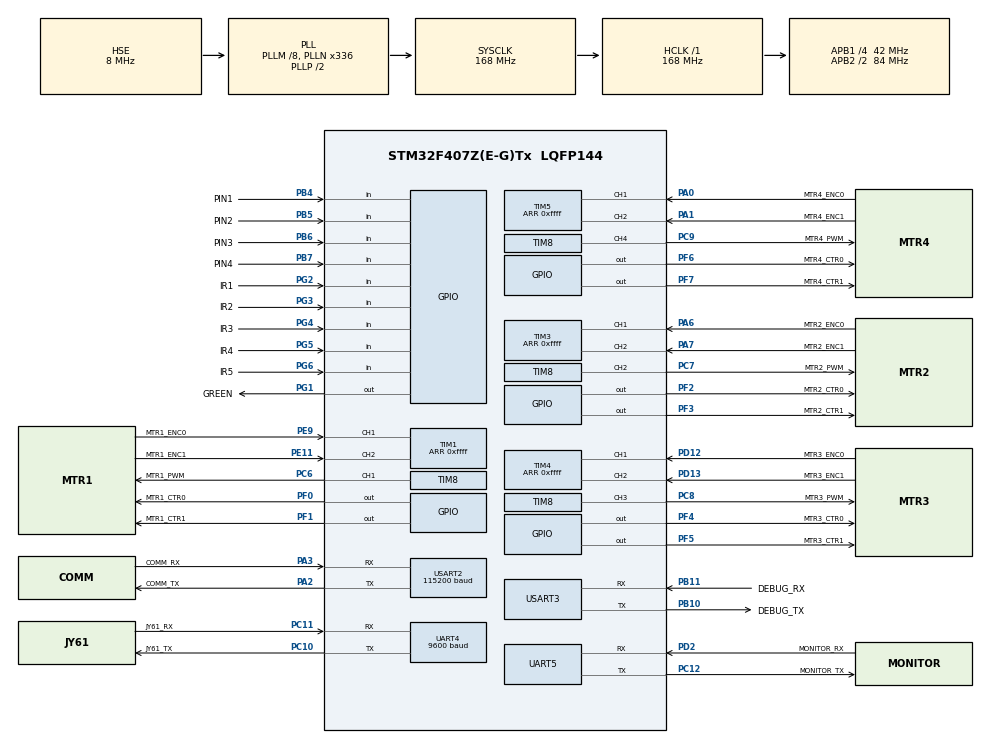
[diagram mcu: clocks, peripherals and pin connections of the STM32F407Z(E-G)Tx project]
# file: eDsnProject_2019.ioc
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Dma.Request0=USART2_RX
Dma.Request1=USART2_TX
Dma.Request2=USART3_RX
Dma.Request3=USART3_TX
Dma.Request4=UART5_RX
Dma.Request5=UART4_RX
Dma.UART4_RX.5.Direction=DMA_PERIPH_TO_MEMORY
Dma.UART4_RX.5.FIFOMode=DMA_FIFOMODE_DISABLE
Dma.UART4_RX.5.Instance=DMA1_Stream2
Dma.UART4_RX.5.MemDataAlignment=DMA_MDATAALIGN_BYTE
Dma.UART4_RX.5.MemInc=DMA_MINC_ENABLE
Dma.UART4_RX.5.Mode=DMA_NORMAL
Dma.UART4_RX.5.PeriphDataAlignment=DMA_PDATAALIGN_BYTE
Dma.UART4_RX.5.PeriphInc=DMA_PINC_DISABLE
Dma.UART4_RX.5.Priority=DMA_PRIORITY_VERY_HIGH
Dma.UART5_RX.4.Direction=DMA_PERIPH_TO_MEMORY
Dma.UART5_RX.4.FIFOMode=DMA_FIFOMODE_DISABLE
Dma.UART5_RX.4.Instance=DMA1_Stream0
Dma.UART5_RX.4.MemDataAlignment=DMA_MDATAALIGN_BYTE
Dma.UART5_RX.4.MemInc=DMA_MINC_ENABLE
Dma.UART5_RX.4.Mode=DMA_NORMAL
Dma.UART5_RX.4.PeriphDataAlignment=DMA_PDATAALIGN_BYTE
Dma.UART5_RX.4.PeriphInc=DMA_PINC_DISABLE
Dma.UART5_RX.4.Priority=DMA_PRIORITY_HIGH
Dma.USART2_RX.0.Direction=DMA_PERIPH_TO_MEMORY
Dma.USART2_RX.0.FIFOMode=DMA_FIFOMODE_DISABLE
Dma.USART2_RX.0.Instance=DMA1_Stream5
Dma.USART2_RX.0.MemDataAlignment=DMA_MDATAALIGN_BYTE
Dma.USART2_RX.0.MemInc=DMA_MINC_ENABLE
Dma.USART2_RX.0.Mode=DMA_NORMAL
Dma.USART2_RX.0.PeriphDataAlignment=DMA_PDATAALIGN_BYTE
Dma.USART2_RX.0.PeriphInc=DMA_PINC_DISABLE
Dma.USART2_RX.0.Priority=DMA_PRIORITY_MEDIUM
Dma.USART2_TX.1.Direction=DMA_MEMORY_TO_PERIPH
Dma.USART2_TX.1.FIFOMode=DMA_FIFOMODE_DISABLE
Dma.USART2_TX.1.Instance=DMA1_Stream6
Dma.USART2_TX.1.MemDataAlignment=DMA_MDATAALIGN_BYTE
Dma.USART2_TX.1.MemInc=DMA_MINC_ENABLE
Dma.USART2_TX.1.Mode=DMA_NORMAL
Dma.USART2_TX.1.PeriphDataAlignment=DMA_PDATAALIGN_BYTE
Dma.USART2_TX.1.PeriphInc=DMA_PINC_DISABLE
Dma.USART2_TX.1.Priority=DMA_PRIORITY_LOW
Dma.USART3_RX.2.Direction=DMA_PERIPH_TO_MEMORY
Dma.USART3_RX.2.FIFOMode=DMA_FIFOMODE_DISABLE
Dma.USART3_RX.2.Instance=DMA1_Stream1
Dma.USART3_RX.2.MemDataAlignment=DMA_MDATAALIGN_BYTE
Dma.USART3_RX.2.MemInc=DMA_MINC_ENABLE
Dma.USART3_RX.2.Mode=DMA_NORMAL
Dma.USART3_RX.2.PeriphDataAlignment=DMA_PDATAALIGN_BYTE
Dma.USART3_RX.2.PeriphInc=DMA_PINC_DISABLE
Dma.USART3_RX.2.Priority=DMA_PRIORITY_MEDIUM
Dma.USART3_TX.3.Direction=DMA_MEMORY_TO_PERIPH
Dma.USART3_TX.3.FIFOMode=DMA_FIFOMODE_DISABLE
Dma.USART3_TX.3.Instance=DMA1_Stream3
Dma.USART3_TX.3.MemDataAlignment=DMA_MDATAALIGN_BYTE
Dma.USART3_TX.3.MemInc=DMA_MINC_ENABLE
Dma.USART3_TX.3.Mode=DMA_NORMAL
Dma.USART3_TX.3.PeriphDataAlignment=DMA_PDATAALIGN_BYTE
Dma.USART3_TX.3.PeriphInc=DMA_PINC_DISABLE
Dma.USART3_TX.3.Priority=DMA_PRIORITY_LOW
FREERTOS.Tasks01=MainTask,0,256,MainTaskDaemon,As weak,NULL,Dynamic,NULL,NULL;SensorTask,1,256,SensorTaskDaemon,As weak,NULL,Dynamic,NULL,NULL;EncoderTask,3,256,EncoderTaskDaemon,As weak,NULL,Dynamic,NULL,NULL;LocateTask,3,256,LocateTaskDaemon,As weak,NULL,Dynamic,NULL,NULL;MonitorTask,1,256,MonitorTaskDaemon,As weak,NULL,Dynamic,NULL,NULL;DebugTask,0,512,DebugTaskDaemon,As weak,NULL,Dynamic,NULL,NULL;MapTask,0,256,MapTaskDaemon,As weak,NULL,Dynamic,NULL,NULL
FREERTOS.configTOTAL_HEAP_SIZE=65536
Mcu.Family=STM32F4
Mcu.Name=STM32F407Z(E-G)Tx
Mcu.Package=LQFP144
NVIC.DMA1_Stream0_IRQn=true\:5\:0\:false\:false\:true\:true\:false\:true
NVIC.DMA1_Stream1_IRQn=true\:5\:0\:false\:false\:true\:true\:false\:true
NVIC.DMA1_Stream2_IRQn=true\:5\:0\:false\:false\:true\:true\:false\:true
NVIC.DMA1_Stream3_IRQn=true\:5\:0\:false\:false\:true\:true\:false\:true
NVIC.DMA1_Stream5_IRQn=true\:5\:0\:false\:false\:true\:true\:false\:true
NVIC.DMA1_Stream6_IRQn=true\:5\:0\:false\:false\:true\:true\:false\:true
NVIC.PriorityGroup=NVIC_PRIORITYGROUP_4
NVIC.TIM7_IRQn=true\:0\:0\:false\:false\:true\:false\:false\:true
NVIC.TimeBase=TIM7_IRQn
NVIC.TimeBaseIP=TIM7
PA0-WKUP.GPIO_Label=MTR4_ENC0
PA0-WKUP.Signal=S_TIM5_CH1
PA1.GPIO_Label=MTR4_ENC1
PA1.Signal=S_TIM5_CH2
PA13.Mode=Serial_Wire
PA13.Signal=SYS_JTMS-SWDIO
PA14.Mode=Serial_Wire
PA14.Signal=SYS_JTCK-SWCLK
PA2.GPIO_Label=COMM_TX
PA2.Mode=Asynchronous
PA2.Signal=USART2_TX
PA3.GPIO_Label=COMM_RX
PA3.Mode=Asynchronous
PA3.Signal=USART2_RX
PA6.GPIO_Label=MTR2_ENC0
PA6.Signal=S_TIM3_CH1
PA7.GPIO_Label=MTR2_ENC1
PA7.Signal=S_TIM3_CH2
PB10.GPIO_Label=DEBUG_TX
PB10.Mode=Asynchronous
PB10.Signal=USART3_TX
PB11.GPIO_Label=DEBUG_RX
PB11.Mode=Asynchronous
PB11.Signal=USART3_RX
PB4.GPIO_Label=PIN1
PB4.Signal=GPIO_Input
PB5.GPIO_Label=PIN2
PB5.Signal=GPIO_Input
PB6.GPIO_Label=PIN3
PB6.Signal=GPIO_Input
PB7.GPIO_Label=PIN4
PB7.Signal=GPIO_Input
PC10.GPIO_Label=JY61_TX
PC10.Mode=Asynchronous
PC10.Signal=UART4_TX
PC11.GPIO_Label=JY61_RX
PC11.Mode=Asynchronous
PC11.Signal=UART4_RX
PC12.GPIO_Label=MONITOR_TX
PC12.Mode=Asynchronous
PC12.Signal=UART5_TX
PC6.GPIO_Label=MTR1_PWM
PC6.Signal=S_TIM8_CH1
PC7.GPIO_Label=MTR2_PWM
PC7.Signal=S_TIM8_CH2
PC8.GPIO_Label=MTR3_PWM
PC8.Signal=S_TIM8_CH3
PC9.GPIO_Label=MTR4_PWM
PC9.Signal=S_TIM8_CH4
PD12.GPIO_Label=MTR3_ENC0
PD12.Signal=S_TIM4_CH1
PD13.GPIO_Label=MTR3_ENC1
PD13.Signal=S_TIM4_CH2
PD2.GPIO_Label=MONITOR_RX
PD2.Mode=Asynchronous
PD2.Signal=UART5_RX
PE11.GPIO_Label=MTR1_ENC1
PE11.Signal=S_TIM1_CH2
PE9.GPIO_Label=MTR1_ENC0
PE9.Signal=S_TIM1_CH1
PF0.GPIO_Label=MTR1_CTR0
PF0.Signal=GPIO_Output
PF1.GPIO_Label=MTR1_CTR1
PF1.Signal=GPIO_Output
PF2.GPIO_Label=MTR2_CTR0
PF2.Signal=GPIO_Output
PF3.GPIO_Label=MTR2_CTR1
PF3.Signal=GPIO_Output
PF4.GPIO_Label=MTR3_CTR0
PF4.Signal=GPIO_Output
PF5.GPIO_Label=MTR3_CTR1
PF5.Signal=GPIO_Output
PF6.GPIO_Label=MTR4_CTR0
PF6.Signal=GPIO_Output
PF7.GPIO_Label=MTR4_CTR1
PF7.Signal=GPIO_Output
PG1.GPIO_Label=GREEN
PG1.Signal=GPIO_Output
PG2.GPIO_Label=IR1
PG2.Signal=GPIO_Input
PG3.GPIO_Label=IR2
PG3.Signal=GPIO_Input
PG4.GPIO_Label=IR3
PG4.Signal=GPIO_Input
PG5.GPIO_Label=IR4
PG5.Signal=GPIO_Input
PG6.GPIO_Label=IR5
PG6.Signal=GPIO_Input
PH0-OSC_IN.Mode=HSE-External-Oscillator
PH0-OSC_IN.Signal=RCC_OSC_IN
PH1-OSC_OUT.Mode=HSE-External-Oscillator
PH1-OSC_OUT.Signal=RCC_OSC_OUT
ProjectManager.HeapSize=0x200
ProjectManager.StackSize=0x400
ProjectManager.TargetToolchain=MDK-ARM V5
RCC.48MHZClocksFreq_Value=84000000
RCC.AHBFreq_Value=168000000
RCC.APB1CLKDivider=RCC_HCLK_DIV4
RCC.APB1Freq_Value=42000000
RCC.APB1TimFreq_Value=84000000
RCC.APB2CLKDivider=RCC_HCLK_DIV2
RCC.APB2Freq_Value=84000000
RCC.APB2TimFreq_Value=168000000
RCC.CortexFreq_Value=168000000
RCC.HCLKFreq_Value=168000000
RCC.HSE_VALUE=8000000
RCC.HSI_VALUE=16000000
RCC.LSE_VALUE=32768
RCC.PLLM=8
RCC.PLLN=336
RCC.PLLSourceVirtual=RCC_PLLSOURCE_HSE
RCC.SYSCLKFreq_VALUE=168000000
RCC.SYSCLKSource=RCC_SYSCLKSOURCE_PLLCLK
RCC.VCOOutputFreq_Value=336000000
SH.S_TIM1_CH1.0=TIM1_CH1,Encoder_Interface
SH.S_TIM1_CH2.0=TIM1_CH2,Encoder_Interface
SH.S_TIM3_CH1.0=TIM3_CH1,Encoder_Interface
SH.S_TIM3_CH2.0=TIM3_CH2,Encoder_Interface
SH.S_TIM4_CH1.0=TIM4_CH1,Encoder_Interface
SH.S_TIM4_CH2.0=TIM4_CH2,Encoder_Interface
SH.S_TIM5_CH1.0=TIM5_CH1,Encoder_Interface
SH.S_TIM5_CH2.0=TIM5_CH2,Encoder_Interface
SH.S_TIM8_CH1.0=TIM8_CH1,PWM Generation1 CH1
SH.S_TIM8_CH2.0=TIM8_CH2,PWM Generation2 CH2
SH.S_TIM8_CH3.0=TIM8_CH3,PWM Generation3 CH3
SH.S_TIM8_CH4.0=TIM8_CH4,PWM Generation4 CH4
TIM1.EncoderMode=TIM_ENCODERMODE_TI12
TIM1.Period=0xffff
TIM2.Period=0xffffffff
TIM2.Prescaler=(84-1)
TIM3.EncoderMode=TIM_ENCODERMODE_TI12
TIM3.Period=0xffff
TIM4.EncoderMode=TIM_ENCODERMODE_TI12
TIM4.Period=0xffff
TIM5.EncoderMode=TIM_ENCODERMODE_TI12
TIM5.Period=0xffff
TIM6.Period=0xffff
TIM6.Prescaler=(84-1)
TIM8.Channel-PWM\ Generation1\ CH1=TIM_CHANNEL_1
TIM8.Channel-PWM\ Generation2\ CH2=TIM_CHANNEL_2
TIM8.Channel-PWM\ Generation3\ CH3=TIM_CHANNEL_3
TIM8.Channel-PWM\ Generation4\ CH4=TIM_CHANNEL_4
TIM8.Period=(1000-1)
TIM8.Prescaler=(42-1)
UART4.BaudRate=9600
UART4.VirtualMode=Asynchronous
UART5.VirtualMode=Asynchronous
USART2.BaudRate=115200
USART2.VirtualMode=VM_ASYNC
USART3.VirtualMode=VM_ASYNC
VP_FREERTOS_VS_CMSIS_V1.Mode=CMSIS_V1
VP_SYS_VS_tim7.Mode=TIM7
VP_TIM2_VS_ClockSourceINT.Mode=Internal
VP_TIM6_VS_ClockSourceINT.Mode=Enable_Timer
board=custom

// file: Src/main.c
/* USER CODE BEGIN Header */
/**
  ******************************************************************************
  * @file           : main.c
  * @brief          : Main program body
  ******************************************************************************
  * @attention
  *
  * <h2><center>&copy; Copyright (c) 2019 STMicroelectronics.
  * All rights reserved.</center></h2>
  *
  * This software component is licensed by ST under BSD 3-Clause license,
  * the "License"; You may not use this file except in compliance with the
  * License. You may obtain a copy of the License at:
  *                        opensource.org/licenses/BSD-3-Clause
  *
  ******************************************************************************
  */
/* USER CODE END Header */

#include "main.h"
#include "cmsis_os.h"
#include "dma.h"
#include "tim.h"
#include "usart.h"
#include "gpio.h"

void SystemClock_Config(void);
void MX_FREERTOS_Init(void);
/* USER CODE BEGIN PFP */
int fputc(int ch, FILE *f) {
  HAL_UART_Transmit(&huart3, (uint8_t *)&ch, 1, 0xFFFF);
  return ch;
}

void DelayUs(uint16_t nus) {
  uint16_t start_time, now_time;
  start_time = __HAL_TIM_GET_COUNTER(&htim6);
  while (1) {
    now_time = __HAL_TIM_GET_COUNTER(&htim6);
    if (start_time < now_time && now_time - start_time >= nus)
      break;
    else if (start_time > now_time && 0x10000 + now_time - start_time >= nus)
      break;
  }
  return;
}

void DelayMs(uint16_t nms) {
  while (nms--) DelayUs(1000);
  return;
}
/* USER CODE END PFP */

int main(void)
{

  /* MCU Configuration--------------------------------------------------------*/

  /* Reset of all peripherals, Initializes the Flash interface and the Systick. */

  HAL_Init();

  /* Configure the system clock */
  SystemClock_Config();

  /* Initialize all configured peripherals */
  MX_GPIO_Init();
  MX_DMA_Init();
  MX_USART2_UART_Init();
  MX_TIM6_Init();
  MX_TIM2_Init();
  MX_TIM1_Init();
  MX_TIM3_Init();
  MX_TIM4_Init();
  MX_TIM5_Init();
  MX_TIM8_Init();
  MX_UART4_Init();
  MX_UART5_Init();
  MX_USART3_UART_Init();
  /* USER CODE BEGIN 2 */
  HAL_TIM_Base_Start_IT(&htim6);
  HAL_TIM_Base_Start_IT(&htim2);
  HAL_TIM_Encoder_Start(&htim1, TIM_CHANNEL_ALL);
  HAL_TIM_Encoder_Start(&htim3, TIM_CHANNEL_ALL);
  HAL_TIM_Encoder_Start(&htim4, TIM_CHANNEL_ALL);
  HAL_TIM_Encoder_Start(&htim5, TIM_CHANNEL_ALL);
  HAL_TIM_PWM_Start(&htim8, TIM_CHANNEL_1);
  HAL_TIM_PWM_Start(&htim8, TIM_CHANNEL_2);
  HAL_TIM_PWM_Start(&htim8, TIM_CHANNEL_3);
  HAL_TIM_PWM_Start(&htim8, TIM_CHANNEL_4);
  /* USER CODE END 2 */

  /* Call init function for freertos objects (in freertos.c) */
  MX_FREERTOS_Init();

  /* Start scheduler */
  osKernelStart();

  /* We should never get here as control is now taken by the scheduler */

  /* Infinite loop */
  while (1)
  {

  }
}

void SystemClock_Config(void)
{
  RCC_OscInitTypeDef RCC_OscInitStruct = {0};
  RCC_ClkInitTypeDef RCC_ClkInitStruct = {0};

  /** Configure the main internal regulator output voltage
  */
  __HAL_RCC_PWR_CLK_ENABLE();
  __HAL_PWR_VOLTAGESCALING_CONFIG(PWR_REGULATOR_VOLTAGE_SCALE1);
  /** Initializes the CPU, AHB and APB busses clocks
  */
  RCC_OscInitStruct.OscillatorType = RCC_OSCILLATORTYPE_HSE;
  RCC_OscInitStruct.HSEState = RCC_HSE_ON;
  RCC_OscInitStruct.PLL.PLLState = RCC_PLL_ON;
  RCC_OscInitStruct.PLL.PLLSource = RCC_PLLSOURCE_HSE;
  RCC_OscInitStruct.PLL.PLLM = 8;
  RCC_OscInitStruct.PLL.PLLN = 336;
  RCC_OscInitStruct.PLL.PLLP = RCC_PLLP_DIV2;
  RCC_OscInitStruct.PLL.PLLQ = 4;
  if (HAL_RCC_OscConfig(&RCC_OscInitStruct) != HAL_OK)
  {
    Error_Handler();
  }
  /** Initializes the CPU, AHB and APB busses clocks
  */
  RCC_ClkInitStruct.ClockType = RCC_CLOCKTYPE_HCLK|RCC_CLOCKTYPE_SYSCLK
                              |RCC_CLOCKTYPE_PCLK1|RCC_CLOCKTYPE_PCLK2;
  RCC_ClkInitStruct.SYSCLKSource = RCC_SYSCLKSOURCE_PLLCLK;
  RCC_ClkInitStruct.AHBCLKDivider = RCC_SYSCLK_DIV1;
  RCC_ClkInitStruct.APB1CLKDivider = RCC_HCLK_DIV4;
  RCC_ClkInitStruct.APB2CLKDivider = RCC_HCLK_DIV2;

  if (HAL_RCC_ClockConfig(&RCC_ClkInitStruct, FLASH_LATENCY_5) != HAL_OK)
  {
    Error_Handler();
  }
}

void HAL_TIM_PeriodElapsedCallback(TIM_HandleTypeDef *htim)
{
  if (htim->Instance == TIM7) {
    HAL_IncTick();
  }
}

void Error_Handler(void)
{
}

/************************ (C) COPYRIGHT STMicroelectronics *****END OF FILE****/

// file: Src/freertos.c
/* USER CODE BEGIN Header */
/**
  ******************************************************************************
  * File Name          : freertos.c
  * Description        : Code for freertos applications
  ******************************************************************************
  * @attention
  *
  * <h2><center>&copy; Copyright (c) 2019 STMicroelectronics.
  * All rights reserved.</center></h2>
  *
  * This software component is licensed by ST under Ultimate Liberty license
  * SLA0044, the "License"; You may not use this file except in compliance with
  * the License. You may obtain a copy of the License at:
  *                             www.st.com/SLA0044
  *
  ******************************************************************************
  */
/* USER CODE END Header */

#include "FreeRTOS.h"
#include "task.h"
#include "main.h"
#include "cmsis_os.h"

osThreadId MainTaskHandle;
osThreadId SensorTaskHandle;
osThreadId EncoderTaskHandle;
osThreadId LocateTaskHandle;
osThreadId MonitorTaskHandle;
osThreadId DebugTaskHandle;
osThreadId MapTaskHandle;

void MainTaskDaemon(void const * argument);
void SensorTaskDaemon(void const * argument);
void EncoderTaskDaemon(void const * argument);
void LocateTaskDaemon(void const * argument);
void MonitorTaskDaemon(void const * argument);
void DebugTaskDaemon(void const * argument);
void MapTaskDaemon(void const * argument);

void MX_FREERTOS_Init(void); /* (MISRA C 2004 rule 8.1) */

/* GetIdleTaskMemory prototype (linked to static allocation support) */
void vApplicationGetIdleTaskMemory( StaticTask_t **ppxIdleTaskTCBBuffer, StackType_t **ppxIdleTaskStackBuffer, uint32_t *pulIdleTaskStackSize );

/* USER CODE BEGIN GET_IDLE_TASK_MEMORY */
static StaticTask_t xIdleTaskTCBBuffer;
static StackType_t xIdleStack[configMINIMAL_STACK_SIZE];

void vApplicationGetIdleTaskMemory( StaticTask_t **ppxIdleTaskTCBBuffer, StackType_t **ppxIdleTaskStackBuffer, uint32_t *pulIdleTaskStackSize )
{
  *ppxIdleTaskTCBBuffer = &xIdleTaskTCBBuffer;
  *ppxIdleTaskStackBuffer = &xIdleStack[0];
  *pulIdleTaskStackSize = configMINIMAL_STACK_SIZE;
  /* place for user code */
}
/* USER CODE END GET_IDLE_TASK_MEMORY */

void MX_FREERTOS_Init(void) {

  /* Create the thread(s) */
  /* definition and creation of MainTask */
  osThreadDef(MainTask, MainTaskDaemon, osPriorityNormal, 0, 256);
  MainTaskHandle = osThreadCreate(osThread(MainTask), NULL);

  /* definition and creation of SensorTask */
  osThreadDef(SensorTask, SensorTaskDaemon, osPriorityAboveNormal, 0, 256);
  SensorTaskHandle = osThreadCreate(osThread(SensorTask), NULL);

  /* definition and creation of EncoderTask */
  osThreadDef(EncoderTask, EncoderTaskDaemon, osPriorityRealtime, 0, 256);
  EncoderTaskHandle = osThreadCreate(osThread(EncoderTask), NULL);

  /* definition and creation of LocateTask */
  osThreadDef(LocateTask, LocateTaskDaemon, osPriorityRealtime, 0, 256);
  LocateTaskHandle = osThreadCreate(osThread(LocateTask), NULL);

  /* definition and creation of MonitorTask */
  osThreadDef(MonitorTask, MonitorTaskDaemon, osPriorityAboveNormal, 0, 256);
  MonitorTaskHandle = osThreadCreate(osThread(MonitorTask), NULL);

  /* definition and creation of DebugTask */
  osThreadDef(DebugTask, DebugTaskDaemon, osPriorityNormal, 0, 512);
  DebugTaskHandle = osThreadCreate(osThread(DebugTask), NULL);

  /* definition and creation of MapTask */
  osThreadDef(MapTask, MapTaskDaemon, osPriorityNormal, 0, 256);
  MapTaskHandle = osThreadCreate(osThread(MapTask), NULL);

}

__weak void MainTaskDaemon(void const * argument)
{

  for(;;)
  {
    osDelay(1);
  }
}

__weak void SensorTaskDaemon(void const * argument)
{
  for(;;)
  {
    osDelay(1);
  }
}

__weak void EncoderTaskDaemon(void const * argument)
{
  for(;;)
  {
    osDelay(1);
  }
}

__weak void LocateTaskDaemon(void const * argument)
{
  for(;;)
  {
    osDelay(1);
  }
}

__weak void MonitorTaskDaemon(void const * argument)
{
  for(;;)
  {
    osDelay(1);
  }
}

__weak void DebugTaskDaemon(void const * argument)
{
  for(;;)
  {
    osDelay(1);
  }
}

__weak void MapTaskDaemon(void const * argument)
{
  for(;;)
  {
    osDelay(1);
  }
}

/************************ (C) COPYRIGHT STMicroelectronics *****END OF FILE****/
